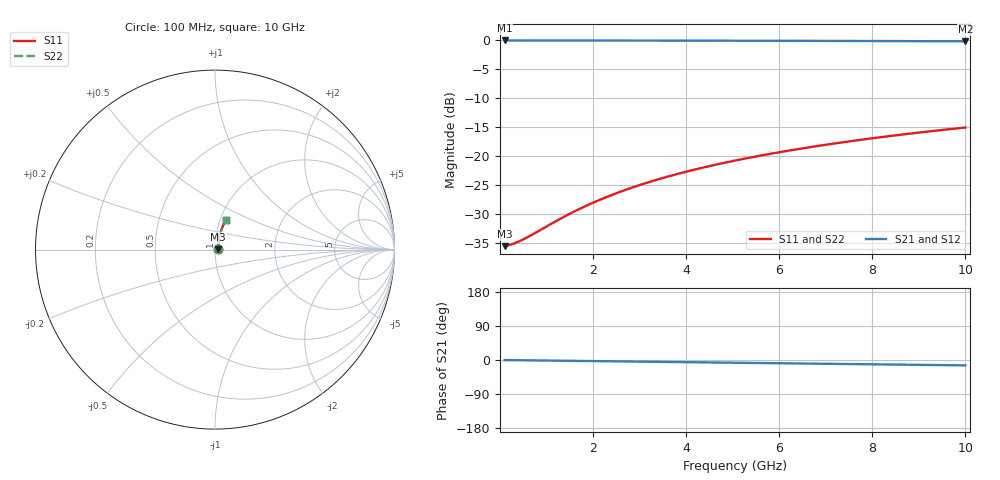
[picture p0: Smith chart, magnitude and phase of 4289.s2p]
# Hz S RI R 50.00
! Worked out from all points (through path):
!   100 points, 100 MHz to 10 GHz, reference 50 ohm
!   highest |S21| = -0.15 dB at 100 MHz (marker M1); lowest = -0.3 dB at 10 GHz (marker M2)
!   group delay of S21, straight-line fit = 3.94 ps
!   lowest |S11| = -35.5 dB at 100 MHz (marker M3), VSWR 1.03, Z = 51.7 + j0.18 ohm
!   |S11| at or under -10 dB: start of sweep to end of sweep
!   |S22| runs from -35.5 to -15.1 dB; largest |S21 - S12| = 0
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1e8  0.0167 0.00174  0.9833 -0.00246  0.9833 -0.00246  0.0167 0.00174
2e8  0.0168 0.00348  0.9832 -0.00491  0.9832 -0.00491  0.0168 0.00348
3e8  0.0169 0.00522  0.9831 -0.00736  0.9831 -0.00736  0.0169 0.00522
5e8  0.0171 0.0087  0.9829 -0.0123  0.9829 -0.0123  0.0171 0.0087
7e8  0.0173 0.0122  0.9827 -0.0172  0.9827 -0.0172  0.0173 0.0122
1.3e9  0.018 0.0226  0.9819 -0.0319  0.9819 -0.0319  0.018 0.0226
1.6e9  0.0185 0.0278  0.9815 -0.0392  0.9815 -0.0392  0.0185 0.0278
1.8e9  0.0188 0.0312  0.9811 -0.0441  0.9811 -0.0441  0.0188 0.0312
2.2e9  0.0196 0.0381  0.9803 -0.0539  0.9803 -0.0539  0.0196 0.0381
2.6e9  0.0205 0.045  0.9793 -0.0636  0.9793 -0.0636  0.0205 0.045
3e9  0.0215 0.0519  0.9782 -0.0733  0.9782 -0.0733  0.0215 0.0519
3.4e9  0.0227 0.0587  0.977 -0.083  0.977 -0.083  0.0227 0.0587
3.8e9  0.024 0.0655  0.9756 -0.0927  0.9756 -0.0927  0.024 0.0655
4.2e9  0.0254 0.0723  0.9741 -0.1023  0.9741 -0.1023  0.0254 0.0723
4.6e9  0.0269 0.079  0.9725 -0.1119  0.9725 -0.1119  0.0269 0.079
5.1e9  0.0291 0.0874  0.9702 -0.1239  0.9702 -0.1239  0.0291 0.0874
5.9e9  0.0329 0.1006  0.9662 -0.1428  0.9662 -0.1428  0.0329 0.1006
6.7e9  0.0372 0.1137  0.9616 -0.1616  0.9616 -0.1616  0.0372 0.1137
7.5e9  0.042 0.1265  0.9565 -0.1802  0.9565 -0.1802  0.042 0.1265
8.4e9  0.048 0.1407  0.9501 -0.2008  0.9501 -0.2008  0.048 0.1407
9.2e9  0.0539 0.153  0.9439 -0.2189  0.9439 -0.2189  0.0539 0.153
1e10  0.0602 0.165  0.9372 -0.2366  0.9372 -0.2366  0.0602 0.165
